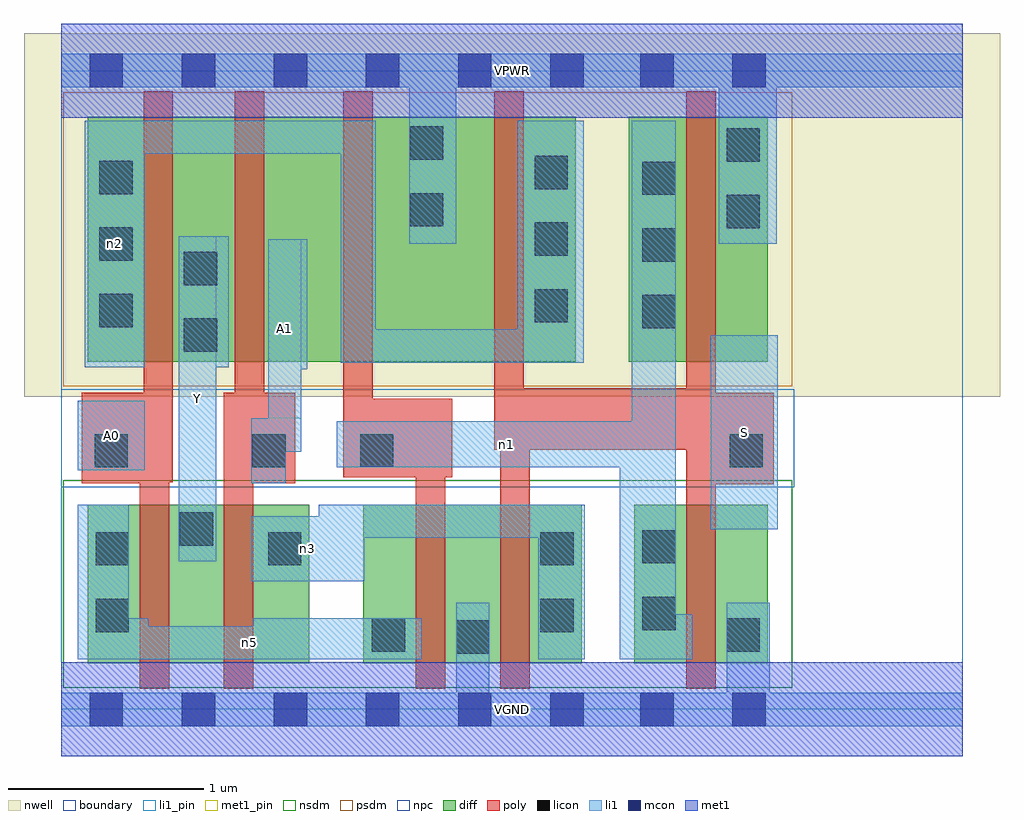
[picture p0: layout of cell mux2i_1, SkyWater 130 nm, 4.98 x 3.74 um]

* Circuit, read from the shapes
.subckt mux2i_1 A0 A1 S VGND VPWR Y n1 n2 n3 n5
XM1 Y A0 n5 VSUBS sky130_fd_pr__nfet_01v8 w=0.81 l=0.15
XM2 n3 A1 Y VSUBS sky130_fd_pr__nfet_01v8 w=0.81 l=0.15
XM3 VGND n1 n5 VSUBS sky130_fd_pr__nfet_01v8 w=0.81 l=0.15
XM4 n3 S VGND VSUBS sky130_fd_pr__nfet_01v8 w=0.81 l=0.15
XM5 VGND S n1 VSUBS sky130_fd_pr__nfet_01v8 w=0.81 l=0.15
XM6 Y A0 n2 n4 sky130_fd_pr__pfet_01v8 w=1.25 l=0.15
XM7 n6 A1 Y n4 sky130_fd_pr__pfet_01v8 w=1.25 l=0.15
XM8 VPWR n1 n6 n4 sky130_fd_pr__pfet_01v8 w=1.25 l=0.15
XM9 n2 S VPWR n4 sky130_fd_pr__pfet_01v8 w=1.25 l=0.15
XM10 VPWR S n1 n4 sky130_fd_pr__pfet_01v8 w=1.25 l=0.15
.ends

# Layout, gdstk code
import gdstk
lib = gdstk.Library(unit=1e-6, precision=1e-09)
def R(c, l, rs):  # rectangles x0, y0, x1, y1
    for r in rs: c.add(gdstk.rectangle(r[:2], r[2:], *l))
def A(c, l, x, y, w, h, nx, ny, dx, dy):  # array of equal rectangles
    R(c, l, [(x+i*dx, y+j*dy, x+i*dx+w, y+j*dy+h) for i in range(nx) for j in range(ny)])
nwell = (64, 20)
diff = (65, 20)
poly = (66, 20)
licon = (66, 44)
li1_pin = (67, 16)
li1 = (67, 20)
mcon = (67, 44)
met1_pin = (68, 16)
met1 = (68, 20)
nsdm = (93, 44)
psdm = (94, 20)
npc = (95, 20)
boundary = (235, 4)

mux2i_1 = lib.new_cell('mux2i_1')
R(mux2i_1, nwell, [(-0.19,1.595,4.79,3.45), (0,1.595,4.6,3.45)])
R(mux2i_1, diff, [(0.135,0.235,1.265,1.045), (1.54,0.235,2.655,1.045), (2.925,0.235,3.605,1.045), (0.135,1.775,2.625,3.025), (2.895,1.775,3.605,3.025)])
R(mux2i_1, poly, [(0.4,0.105,0.55,1.615), (0.83,0.105,0.98,1.615), (1.81,0.105,1.96,1.585), (2.24,0.105,2.39,1.64), (3.19,0.105,3.34,3.155), (3.19,1.15,3.635,1.615), (0.105,1.155,0.55,1.615), (0.83,1.155,1.195,1.615), (0.885,1.155,1.035,3.155), (0.42,1.16,0.57,3.155), (1.44,1.185,1.59,3.155), (1.44,1.185,1.995,1.585), (2.21,1.325,2.36,3.155), (2.21,1.325,3.34,1.64)])
A(mux2i_1, licon, 2.965, 1.945, 0.17, 0.17, 1, 3, 0, 0.34)
A(mux2i_1, licon, 0.195, 1.95, 0.17, 0.17, 1, 3, 0, 0.34)
A(mux2i_1, licon, 2.415, 1.975, 0.17, 0.17, 1, 3, 0, 0.34)
R(mux2i_1, licon, [(2.015,0.285,2.185,0.455), (1.585,0.295,1.755,0.465), (3.395,0.295,3.565,0.465), (0.175,0.395,0.345,0.565), (2.445,0.395,2.615,0.565), (2.965,0.405,3.135,0.575), (0.175,0.735,0.345,0.905), (1.055,0.735,1.225,0.905), (2.445,0.735,2.615,0.905), (2.965,0.745,3.135,0.915), (0.605,0.835,0.775,1.005), (0.17,1.235,0.34,1.405), (0.975,1.235,1.145,1.405), (1.525,1.235,1.695,1.405), (3.41,1.235,3.58,1.405), (0.625,1.825,0.795,1.995), (0.625,2.165,0.795,2.335), (3.395,2.455,3.565,2.625), (1.78,2.465,1.95,2.635), (3.395,2.795,3.565,2.965), (1.78,2.805,1.95,2.975)])
R(mux2i_1, li1_pin, [(0.6,0.755,0.79,2.415), (3.315,0.92,3.655,1.91), (0.085,1.22,0.425,1.575), (1.055,1.485,1.225,2.4)])
R(mux2i_1, li1, [(0,-0.085,4.6,0.085), (2.015,-0.085,2.185,0.545), (3.395,-0.085,3.615,0.545), (0.085,0.255,1.84,0.425), (0.085,0.255,0.345,1.045), (0.085,0.255,0.445,0.465), (0.98,0.255,1.84,0.465), (2.435,0.255,2.67,1.045), (2.85,0.255,3.135,1.47), (2.85,0.255,3.22,0.485), (2.91,0.255,3.135,3.005), (0.97,0.655,1.545,0.985), (0.6,0.755,0.79,2.415), (1.315,0.875,2.435,1.045), (3.315,0.92,3.655,1.91), (0.97,1.155,1.145,1.485), (0.085,1.22,0.425,1.575), (1.405,1.235,3.135,1.47), (1.145,1.315,1.225,2.4), (1.055,1.485,1.225,2.4), (1.055,1.735,1.255,2.4), (0.12,1.745,0.425,3.005), (0.6,1.745,0.855,2.415), (1.425,1.77,2.665,1.94), (1.425,1.77,1.605,3.005), (2.33,1.77,2.665,3.005), (1.775,2.375,2.015,3.345), (3.355,2.375,3.65,3.345), (0.12,2.835,1.605,3.005), (0,3.175,4.6,3.345)])
A(mux2i_1, mcon, 0.145, -0.085, 0.17, 0.17, 6, 2, 0.47, 3.26)
R(mux2i_1, mcon, [(2.955,-0.085,3.125,0.085), (3.425,-0.085,3.595,0.085), (2.955,3.175,3.125,3.345), (3.425,3.175,3.595,3.345)])
R(mux2i_1, met1_pin, [(0,-0.24,4.6,0.24), (0,3.02,4.6,3.5)])
R(mux2i_1, met1, [(0,-0.24,4.6,0.24), (0,3.02,4.6,3.5)])
R(mux2i_1, nsdm, [(0.01,0.11,3.73,1.17)])
R(mux2i_1, psdm, [(0.01,1.65,3.73,3.15)])
R(mux2i_1, npc, [(0,1.135,3.74,1.635)])
R(mux2i_1, boundary, [(0,0,4.6,3.26)])
mux2i_1.add(gdstk.Label('A0', (0.255,1.397), layer=67, texttype=5))
mux2i_1.add(gdstk.Label('A1', (1.14,1.942), layer=67, texttype=5))
mux2i_1.add(gdstk.Label('S', (3.485,1.415), layer=67, texttype=5))
mux2i_1.add(gdstk.Label('Y', (0.695,1.585), layer=67, texttype=5))
mux2i_1.add(gdstk.Label('n5', (0.962,0.34), layer=67, texttype=5))
mux2i_1.add(gdstk.Label('n3', (1.257,0.82), layer=67, texttype=5))
mux2i_1.add(gdstk.Label('n2', (0.272,2.375), layer=67, texttype=5))
mux2i_1.add(gdstk.Label('n1', (2.27,1.352), layer=67, texttype=5))
mux2i_1.add(gdstk.Label('VPWR', (2.3,3.26), layer=68, texttype=5))
mux2i_1.add(gdstk.Label('VGND', (2.3,0), layer=68, texttype=5))
mux2i_1.add(gdstk.Label('A0', (0.255,1.397), layer=67, texttype=16))
mux2i_1.add(gdstk.Label('A1', (1.14,1.942), layer=67, texttype=16))
mux2i_1.add(gdstk.Label('S', (3.485,1.415), layer=67, texttype=16))
mux2i_1.add(gdstk.Label('Y', (0.695,1.585), layer=67, texttype=16))
mux2i_1.add(gdstk.Label('VPWR', (2.3,3.26), layer=68, texttype=16))
mux2i_1.add(gdstk.Label('VGND', (2.3,0), layer=68, texttype=16))

lib.write_gds('mux2i_1.gds')
